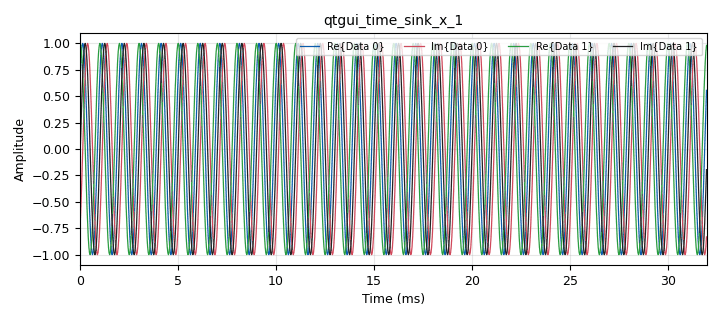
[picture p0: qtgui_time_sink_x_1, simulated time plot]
<?xml version='1.0' encoding='utf-8'?>
<?grc format='1' created='3.7.8'?>
<flow_graph>
<block>
<key>options</key>
<param><key>id</key><value>test_phase_Correct</value></param>
<param><key>category</key><value>Custom</value></param>
<param><key>generate_options</key><value>qt_gui</value></param>
</block>
<block>
<key>variable</key>
<param><key>id</key><value>samp_rate</value></param>
<param><key>value</key><value>32000</value></param>
</block>
<block>
<key>variable_qtgui_chooser</key>
<param><key>id</key><value>variable_qtgui_chooser_0_1_0</value></param>
<param><key>value</key><value>pmt.PMT_F</value></param>
<param><key>label0</key><value>Stop</value></param>
<param><key>label1</key><value>Running</value></param>
<param><key>label</key><value>Sync System</value></param>
<param><key>num_opts</key><value>2</value></param>
<param><key>option0</key><value>pmt.PMT_F</value></param>
<param><key>option1</key><value>pmt.PMT_T</value></param>
<param><key>orient</key><value>Qt.QHBoxLayout</value></param>
<param><key>type</key><value>raw</value></param>
<param><key>widget</key><value>radio_buttons</value></param>
</block>
<block>
<key>variable</key>
<param><key>id</key><value>vec_size</value></param>
<param><key>value</key><value>2</value></param>
</block>
<block>
<key>analog_sig_source_x</key>
<param><key>id</key><value>analog_sig_source_x_0</value></param>
<param><key>amp</key><value>1</value></param>
<param><key>freq</key><value>1000</value></param>
<param><key>offset</key><value>0</value></param>
<param><key>type</key><value>complex</value></param>
<param><key>samp_rate</key><value>samp_rate</value></param>
<param><key>waveform</key><value>analog.GR_COS_WAVE</value></param>
</block>
<block>
<key>blocks_message_strobe</key>
<param><key>id</key><value>blocks_message_strobe_0</value></param>
<param><key>msg</key><value>variable_qtgui_chooser_0_1_0</value></param>
<param><key>period</key><value>1000</value></param>
</block>
<block>
<key>blocks_multiply_const_vxx</key>
<param><key>id</key><value>blocks_multiply_const_vxx_0</value></param>
<param><key>const</key><value>complex(0.707,-0.707)</value></param>
<param><key>type</key><value>complex</value></param>
</block>
<block>
<key>blocks_stream_to_vector</key>
<param><key>id</key><value>blocks_stream_to_vector_0</value></param>
<param><key>type</key><value>complex</value></param>
<param><key>num_items</key><value>vec_size</value></param>
</block>
<block>
<key>blocks_stream_to_vector</key>
<param><key>id</key><value>blocks_stream_to_vector_0_0</value></param>
<param><key>type</key><value>complex</value></param>
<param><key>num_items</key><value>vec_size</value></param>
</block>
<block>
<key>blocks_throttle</key>
<param><key>id</key><value>blocks_throttle_0</value></param>
<param><key>samples_per_second</key><value>samp_rate</value></param>
<param><key>type</key><value>complex</value></param>
</block>
<block>
<key>blocks_vector_to_stream</key>
<param><key>id</key><value>blocks_vector_to_stream_0</value></param>
<param><key>type</key><value>complex</value></param>
</block>
<block>
<key>qtgui_time_sink_x</key>
<param><key>id</key><value>qtgui_time_sink_x_0_0</value></param>
<param><key>ctrlpanel</key><value>True</value></param>
<param><key>color1</key><value>"blue"</value></param>
<param><key>label1</key><value></value></param>
<param><key>color2</key><value>"red"</value></param>
<param><key>label2</key><value></value></param>
<param><key>color3</key><value>"green"</value></param>
<param><key>label3</key><value></value></param>
<param><key>color4</key><value>"black"</value></param>
<param><key>label4</key><value></value></param>
<param><key>nconnections</key><value>2</value></param>
<param><key>size</key><value>32</value></param>
<param><key>srate</key><value>samp_rate</value></param>
<param><key>type</key><value>complex</value></param>
</block>
<block>
<key>qtgui_time_sink_x</key>
<param><key>id</key><value>qtgui_time_sink_x_1</value></param>
<param><key>autoscale</key><value>True</value></param>
<param><key>color1</key><value>"blue"</value></param>
<param><key>label1</key><value></value></param>
<param><key>color2</key><value>"red"</value></param>
<param><key>label2</key><value></value></param>
<param><key>color3</key><value>"green"</value></param>
<param><key>label3</key><value></value></param>
<param><key>color4</key><value>"black"</value></param>
<param><key>label4</key><value></value></param>
<param><key>nconnections</key><value>2</value></param>
<param><key>size</key><value>1024</value></param>
<param><key>srate</key><value>samp_rate</value></param>
<param><key>type</key><value>complex</value></param>
</block>
<block>
<key>wifius_phase_correct_vci</key>
<param><key>id</key><value>wifius_phase_correct_vci_0</value></param>
<param><key>cal_tone_freq</key><value>1024</value></param>
<param><key>debug</key><value>False</value></param>
<param><key>samp_rate</key><value>samp_rate</value></param>
<param><key>mu</key><value>0.01</value></param>
<param><key>vlen</key><value>vec_size</value></param>
</block>
<connection><source_block_id>analog_sig_source_x_0</source_block_id><sink_block_id>blocks_throttle_0</sink_block_id><source_key>0</source_key><sink_key>0</sink_key></connection>
<connection><source_block_id>blocks_message_strobe_0</source_block_id><sink_block_id>wifius_phase_correct_vci_0</sink_block_id><source_key>strobe</source_key><sink_key>set_enable_sync</sink_key></connection>
<connection><source_block_id>blocks_multiply_const_vxx_0</source_block_id><sink_block_id>blocks_stream_to_vector_0_0</sink_block_id><source_key>0</source_key><sink_key>0</sink_key></connection>
<connection><source_block_id>blocks_multiply_const_vxx_0</source_block_id><sink_block_id>qtgui_time_sink_x_1</sink_block_id><source_key>0</source_key><sink_key>0</sink_key></connection>
<connection><source_block_id>blocks_stream_to_vector_0</source_block_id><sink_block_id>wifius_phase_correct_vci_0</sink_block_id><source_key>0</source_key><sink_key>0</sink_key></connection>
<connection><source_block_id>blocks_stream_to_vector_0_0</source_block_id><sink_block_id>wifius_phase_correct_vci_0</sink_block_id><source_key>0</source_key><sink_key>1</sink_key></connection>
<connection><source_block_id>blocks_throttle_0</source_block_id><sink_block_id>blocks_multiply_const_vxx_0</sink_block_id><source_key>0</source_key><sink_key>0</sink_key></connection>
<connection><source_block_id>blocks_throttle_0</source_block_id><sink_block_id>blocks_stream_to_vector_0</sink_block_id><source_key>0</source_key><sink_key>0</sink_key></connection>
<connection><source_block_id>blocks_throttle_0</source_block_id><sink_block_id>qtgui_time_sink_x_0_0</sink_block_id><source_key>0</source_key><sink_key>1</sink_key></connection>
<connection><source_block_id>blocks_throttle_0</source_block_id><sink_block_id>qtgui_time_sink_x_1</sink_block_id><source_key>0</source_key><sink_key>1</sink_key></connection>
<connection><source_block_id>blocks_vector_to_stream_0</source_block_id><sink_block_id>qtgui_time_sink_x_0_0</sink_block_id><source_key>0</source_key><sink_key>0</sink_key></connection>
<connection><source_block_id>wifius_phase_correct_vci_0</source_block_id><sink_block_id>blocks_vector_to_stream_0</sink_block_id><source_key>0</source_key><sink_key>0</sink_key></connection>
</flow_graph>
